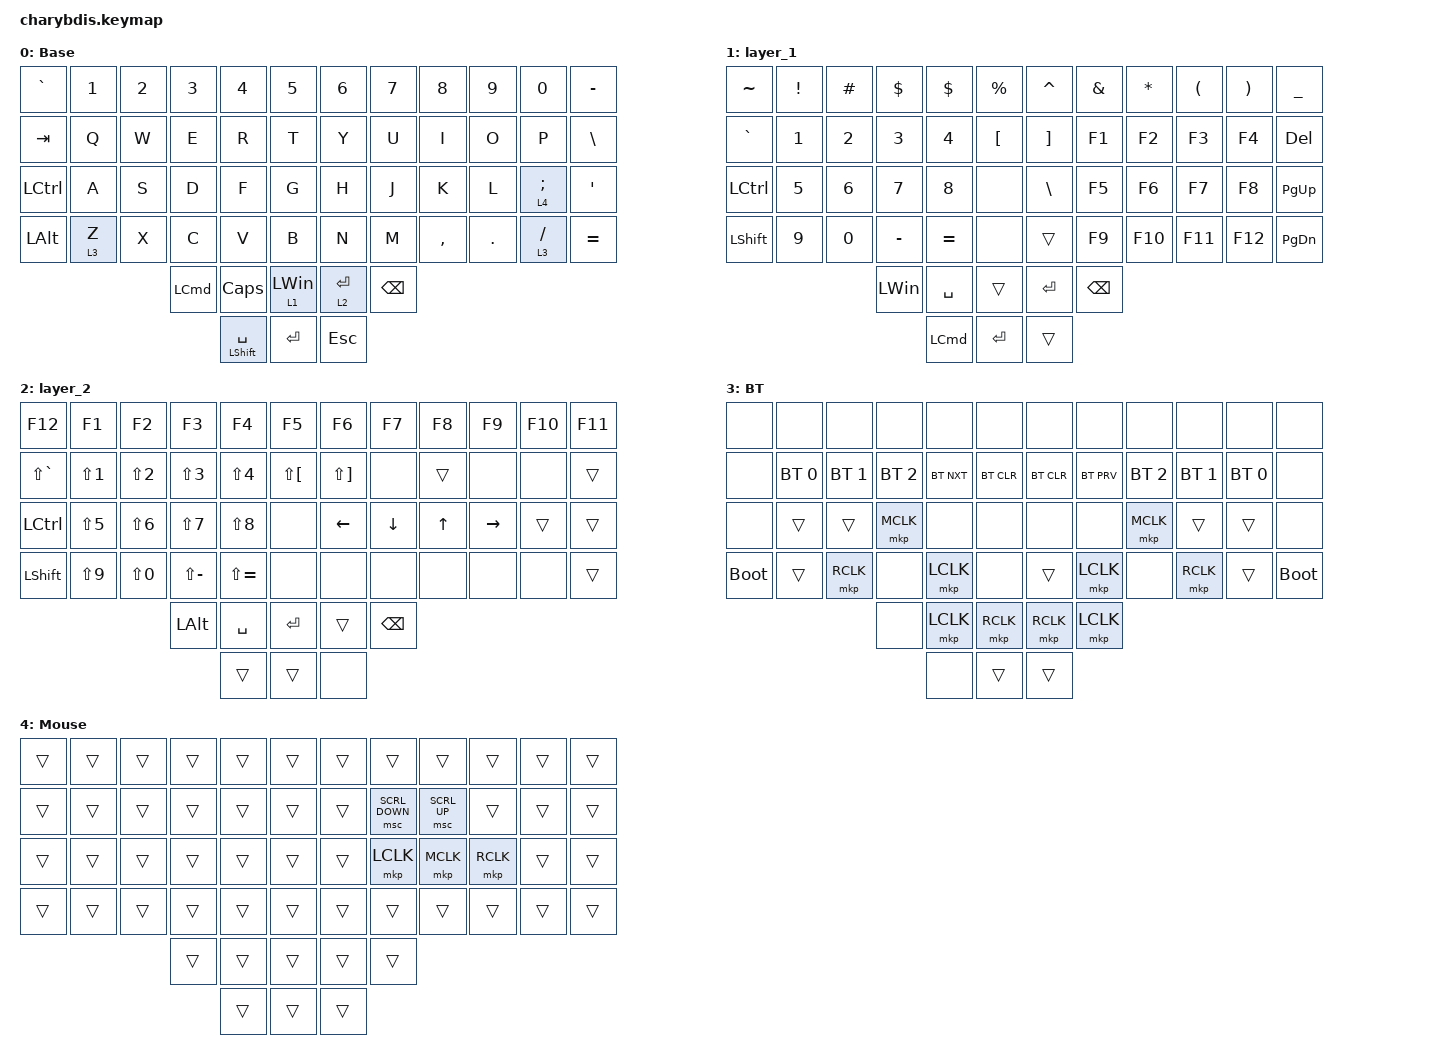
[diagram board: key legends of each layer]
#include <dt-bindings/zmk/mouse.h>
#include <behaviors.dtsi>
#include <dt-bindings/zmk/bt.h>
#include <dt-bindings/zmk/keys.h>
#include <dt-bindings/zmk/pointing.h>

&lt {
    tapping-term-ms = <200>;
    flavor = "balanced";
    quick-tap-ms = <150>;
};

/ {
    combos {
        compatible = "zmk,combos";

        escc {
            bindings = <&kp ESC>;
            key-positions = <17 18>;
            layers = <0>;
        };
    };

    keymap {
        compatible = "zmk,keymap";

        Base {
            bindings = <
&kp GRAVE         &kp N1   &kp N2  &kp N3            &kp N4                &kp N5            &kp N6       &kp N7         &kp N8     &kp N9   &kp N0       &kp MINUS
&kp TAB           &kp Q    &kp W   &kp E             &kp R                 &kp T             &kp Y        &kp U          &kp I      &kp O    &kp P        &kp BACKSLASH
&kp LEFT_CONTROL  &kp A    &kp S   &kp D             &kp F                 &kp G             &kp H        &kp J          &kp K      &kp L    &lt 4 SEMI   &kp APOS
&kp LEFT_ALT      &lt 3 Z  &kp X   &kp C             &kp V                 &kp B             &kp N        &kp M          &kp COMMA  &kp DOT  &lt 3 SLASH  &kp EQUAL
                                   &kp LEFT_COMMAND  &kp CAPSLOCK          &lt 1 LEFT_WIN    &lt 2 ENTER  &kp BACKSPACE
                                                     &mt LEFT_SHIFT SPACE  &kp ENTER         &kp ESCAPE
            >;

            trackball-bindings = <&tmv_coarse>;
        };

        layer_1 {
            bindings = <
&kp TILDE         &kp EXCLAMATION  &kp HASH      &kp DOLLAR    &kp DOLLAR        &kp PERCENT    &kp CARET  &kp AMPERSAND  &kp ASTERISK  &kp LEFT_PARENTHESIS  &kp RIGHT_PARENTHESIS  &kp UNDERSCORE
&kp GRAVE         &kp NUMBER_1     &kp NUMBER_2  &kp NUMBER_3  &kp NUMBER_4      &kp LBKT       &kp RBKT   &kp F1         &kp F2        &kp F3                &kp F4                 &kp DEL
&kp LEFT_CONTROL  &kp NUMBER_5     &kp NUMBER_6  &kp NUMBER_7  &kp NUMBER_8      &none          &kp BSLH   &kp F5         &kp F6        &kp F7                &kp F8                 &kp PAGE_UP
&kp LSHFT         &kp NUMBER_9     &kp NUMBER_0  &kp MINUS     &kp EQUAL         &none          &trans     &kp F9         &kp F10       &kp F11               &kp F12                &kp PAGE_DOWN
                                                 &kp LEFT_WIN  &kp SPACE         &trans         &kp ENTER  &kp BACKSPACE
                                                               &kp LEFT_COMMAND  &kp ENTER      &trans
            >;
        };

        layer_2 {
            bindings = <
&kp F12           &kp F1      &kp F2      &kp F3         &kp F4         &kp F5          &kp F6          &kp F7         &kp F8  &kp F9     &kp F10  &kp F11
&kp LS(GRAVE)     &kp LS(N1)  &kp LS(N2)  &kp LS(N3)     &kp LS(N4)     &kp LS(LBKT)    &kp LS(RBKT)    &none          &trans  &none      &none    &trans
&kp LEFT_CONTROL  &kp LS(N5)  &kp LS(N6)  &kp LS(N7)     &kp LS(N8)     &none           &kp LEFT_ARROW  &kp DOWN       &kp UP  &kp RIGHT  &trans   &trans
&kp LEFT_SHIFT    &kp LS(N9)  &kp LS(N0)  &kp LS(MINUS)  &kp LS(EQUAL)  &none           &none           &none          &none   &none      &none    &trans
                                          &kp LEFT_ALT   &kp SPACE      &kp ENTER       &trans          &kp BACKSPACE
                                                         &trans         &trans          &none
            >;
        };

        BT {
            bindings = <
&none        &none         &none         &none         &none       &none         &none       &none       &none         &none         &none         &none
&none        &bt BT_SEL 0  &bt BT_SEL 1  &bt BT_SEL 2  &bt BT_NXT  &bt BT_CLR    &bt BT_CLR  &bt BT_PRV  &bt BT_SEL 2  &bt BT_SEL 1  &bt BT_SEL 0  &none
&none        &trans        &trans        &mkp MCLK     &none       &none         &none       &none       &mkp MCLK     &trans        &trans        &none
&bootloader  &trans        &mkp RCLK     &none         &mkp LCLK   &none         &trans      &mkp LCLK   &none         &mkp RCLK     &trans        &bootloader
                                         &none         &mkp LCLK   &mkp RCLK     &mkp RCLK   &mkp LCLK
                                                       &none       &trans        &trans
            >;
        };

        Mouse {
            bindings = <
&trans  &trans  &trans  &trans  &trans  &trans    &trans  &trans          &trans        &trans     &trans  &trans
&trans  &trans  &trans  &trans  &trans  &trans    &trans  &msc SCRL_DOWN  &msc SCRL_UP  &trans     &trans  &trans
&trans  &trans  &trans  &trans  &trans  &trans    &trans  &mkp LCLK       &mkp MCLK     &mkp RCLK  &trans  &trans
&trans  &trans  &trans  &trans  &trans  &trans    &trans  &trans          &trans        &trans     &trans  &trans
                        &trans  &trans  &trans    &trans  &trans
                                &trans  &trans    &trans
            >;
        };
    };
};
